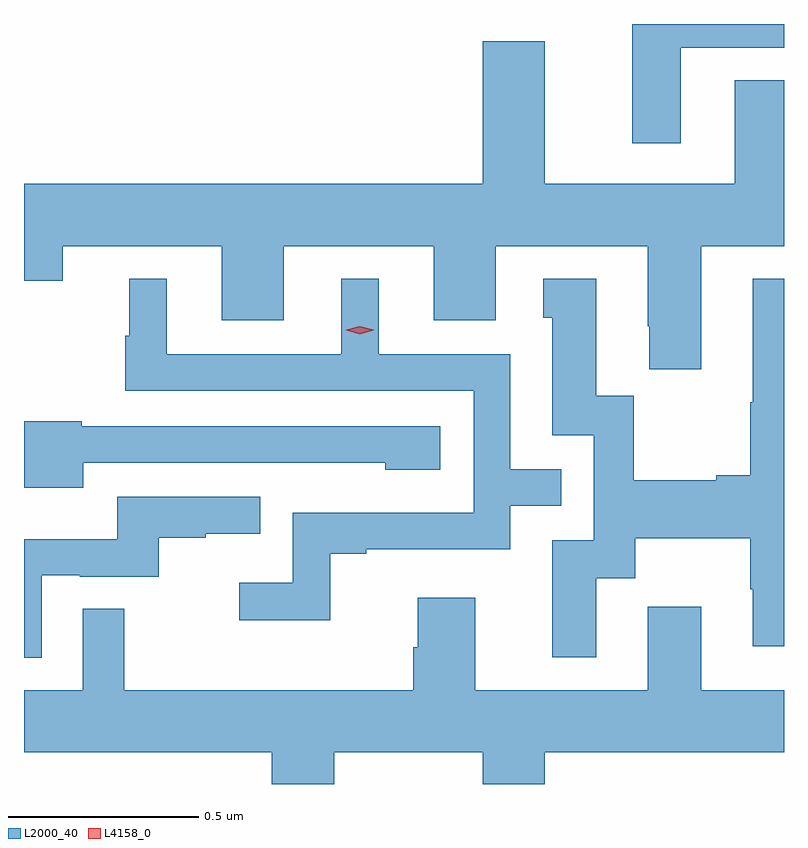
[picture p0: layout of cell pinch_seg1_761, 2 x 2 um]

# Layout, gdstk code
import gdstk
lib = gdstk.Library(unit=1e-6, precision=1e-09)
def P(c, l, *ps):  # polygons
    for p in ps: c.add(gdstk.Polygon(p, *l))
L2000_40 = (2000, 40)
L4158_0 = (4158, 0)

pinch_seg1_761 = lib.new_cell('pinch_seg1_761')
P(pinch_seg1_761, L2000_40, [(836.857,541.598),(837.129,541.598),(837.129,541.661),(836.729,541.661),(836.729,541.347),(836.857,541.347)],
  [(836.911,541.076),(837.129,541.076),(837.129,541.513),(836.999,541.513),(836.999,541.24),(836.5,541.24),(836.5,541.615),(836.336,541.615),(836.336,541.24),(835.129,541.24),(835.129,540.986),(835.231,540.986),(835.231,541.076),(835.649,541.076),(835.649,540.882),(835.813,540.882),(835.813,541.076),(836.207,541.076),(836.207,540.882),(836.371,540.882),(836.371,541.076),(836.771,541.076),(836.771,540.865),(836.774,540.865),(836.774,540.753),(836.911,540.753)],
  [(835.935,540.267),(836.029,540.267),(836.029,540.279),(836.409,540.279),(836.409,540.393),(836.543,540.393),(836.543,540.489),(836.409,540.489),(836.409,540.792),(836.062,540.792),(836.062,540.991),(835.964,540.991),(835.964,540.792),(835.504,540.792),(835.504,540.991),(835.406,540.991),(835.406,540.84),(835.395,540.84),(835.395,540.696),(836.313,540.696),(836.313,540.375),(835.836,540.375),(835.836,540.19),(835.695,540.19),(835.695,540.092),(835.935,540.092)],
  [(836.635,540.202),(836.737,540.202),(836.737,540.308),(837.04,540.308),(837.04,540.174),(837.047,540.174),(837.047,540.024),(837.129,540.024),(837.129,540.991),(837.047,540.991),(837.047,540.665),(837.04,540.665),(837.04,540.473),(836.951,540.473),(836.951,540.46),(836.733,540.46),(836.733,540.683),(836.635,540.683),(836.635,540.991),(836.495,540.991),(836.495,540.888),(836.519,540.888),(836.519,540.579),(836.628,540.579),(836.628,540.303),(836.519,540.303),(836.519,539.994),(836.635,539.994)],
  [(835.285,540.507),(835.843,540.507),(835.843,540.506),(836.079,540.506),(836.079,540.488),(836.224,540.488),(836.224,540.603),(835.281,540.603),(835.281,540.616),(835.129,540.616),(835.129,540.44),(835.285,540.44)],
  [(835.176,540.21),(835.276,540.21),(835.276,540.207),(835.484,540.207),(835.484,540.309),(835.607,540.309),(835.607,540.32),(835.751,540.32),(835.751,540.417),(835.374,540.417),(835.374,540.305),(835.129,540.305),(835.129,539.993),(835.176,539.993)],
  [(835.945,539.744),(836.336,539.744),(836.336,539.661),(836.5,539.661),(836.5,539.744),(837.129,539.744),(837.129,539.908),(836.911,539.908),(836.911,540.127),(836.771,540.127),(836.771,539.908),(836.317,539.908),(836.317,540.151),(836.165,540.151),(836.165,540.021),(836.153,540.021),(836.153,539.908),(835.393,539.908),(835.393,540.122),(835.284,540.122),(835.284,539.908),(835.129,539.908),(835.129,539.744),(835.781,539.744),(835.781,539.661),(835.945,539.661)])
P(pinch_seg1_761, L4158_0, [(836.013,540.845),(835.977,540.855),(835.977,540.855),(835.977,540.856),(836.013,540.865),(836.049,540.856),(836.049,540.855),(836.049,540.855)])

lib.write_gds('pinch_seg1_761.gds')
